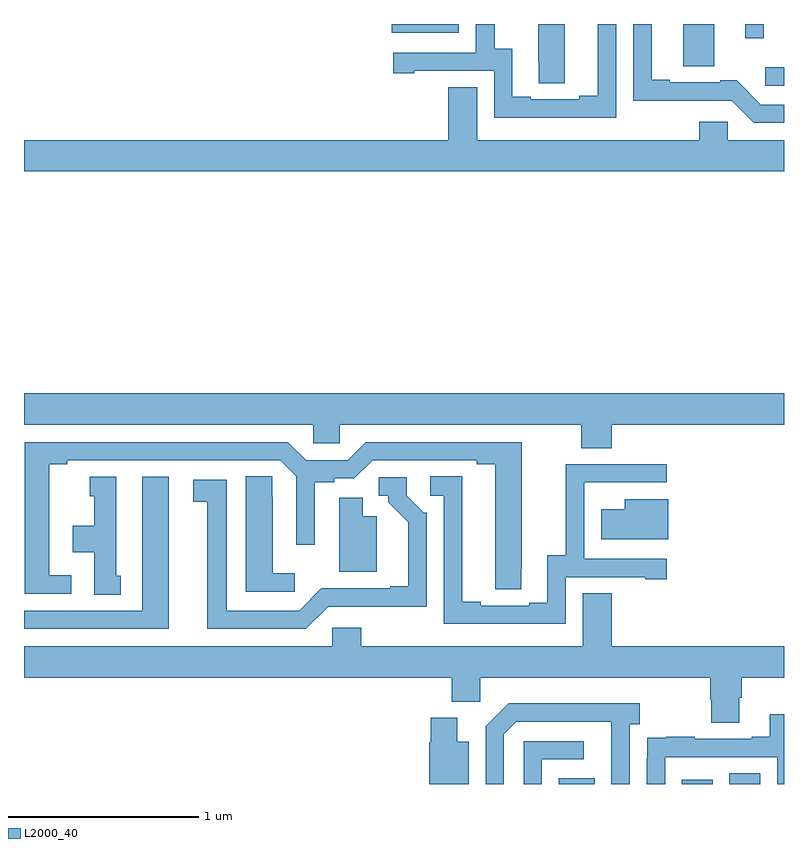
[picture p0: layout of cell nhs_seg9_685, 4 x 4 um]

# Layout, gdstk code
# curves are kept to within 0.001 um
import gdstk
lib = gdstk.Library(unit=1e-6, precision=1e-09)
def R(c, l, rs):  # rectangles x0, y0, x1, y1
    for r in rs: c.add(gdstk.rectangle(r[:2], r[2:], *l))
def P(c, l, *ps):  # polygons
    for p in ps: c.add(gdstk.Polygon(p, *l))
L2000_40 = (2000, 40)

nhs_seg9_685 = lib.new_cell('nhs_seg9_685')
R(nhs_seg9_685, L2000_40, [(147.815,1222.5,148.003,1222.531), (148.463,1222.5,148.624,1222.522), (148.712,1222.5,148.876,1222.556), (148.902,1226.175,149,1226.272), (148.796,1226.424,148.893,1226.5), (146.936,1226.453,147.289,1226.5)])
P(nhs_seg9_685, L2000_40, [(148.116,1226.5),(148.019,1226.5),(148.019,1226.123),(147.923,1226.123),(147.923,1226.103),(147.667,1226.103),(147.667,1226.118),(147.571,1226.118),(147.571,1226.369),(147.477,1226.369),(147.477,1226.5),(147.378,1226.5),(147.378,1226.349),(146.943,1226.349),(146.943,1226.241),(147.055,1226.241),(147.055,1226.253),(147.474,1226.253),(147.474,1226.007),(148.116,1226.007)],
  [(147.847,1226.5),(147.707,1226.5),(147.707,1226.296),(147.708,1226.296),(147.708,1226.188),(147.847,1226.188)],
  [(148.632,1226.436),(148.633,1226.436),(148.633,1226.5),(148.469,1226.5),(148.469,1226.278),(148.632,1226.278)],
  [(149,1226.076),(148.878,1226.076),(148.75,1226.204),(148.664,1226.204),(148.664,1226.193),(148.399,1226.193),(148.399,1226.206),(148.303,1226.206),(148.303,1226.5),(148.206,1226.5),(148.206,1226.096),(148.725,1226.097),(148.842,1225.98),(149,1225.98)],
  [(149,1225.888),(148.704,1225.888),(148.704,1225.986),(148.553,1225.986),(148.553,1225.888),(147.385,1225.888),(147.385,1226.168),(147.233,1226.168),(147.233,1225.888),(145,1225.888),(145,1225.724),(149,1225.724)],
  [(148.094,1224.392),(149,1224.392),(149,1224.556),(145,1224.556),(145,1224.392),(146.523,1224.392),(146.523,1224.294),(146.661,1224.294),(146.661,1224.392),(147.934,1224.392),(147.934,1224.268),(148.094,1224.268)],
  [(145.249,1223.598),(145.132,1223.598),(145.132,1224.184),(145.228,1224.184),(145.228,1224.204),(146.349,1224.204),(146.433,1224.12),(146.433,1223.76),(146.53,1223.76),(146.53,1224.088),(146.634,1224.088),(146.634,1224.108),(146.739,1224.108),(146.835,1224.204),(147.383,1224.204),(147.383,1224.184),(147.479,1224.184),(147.479,1223.524),(147.618,1223.524),(147.619,1224.3),(146.799,1224.3),(146.703,1224.204),(146.485,1224.204),(146.389,1224.3),(145.004,1224.3),(145.004,1223.502),(145.249,1223.502)],
  [(147.852,1223.589),(148.271,1223.589),(148.271,1223.577),(148.384,1223.577),(148.384,1223.685),(147.948,1223.685),(147.948,1224.086),(147.95,1224.086),(147.95,1224.087),(148.384,1224.087),(148.384,1224.183),(147.85,1224.183),(147.85,1223.705),(147.755,1223.705),(147.755,1223.454),(147.659,1223.454),(147.659,1223.439),(147.403,1223.439),(147.403,1223.459),(147.307,1223.459),(147.307,1224.119),(147.138,1224.119),(147.138,1224.018),(147.21,1224.018),(147.21,1223.343),(147.852,1223.343)],
  [(146.425,1223.608),(146.308,1223.608),(146.308,1224.011),(146.307,1224.011),(146.307,1224.119),(146.168,1224.119),(146.168,1223.511),(146.425,1223.511)],
  [(145.51,1223.595),(145.486,1223.595),(145.486,1224.118),(145.346,1224.118),(145.346,1224.015),(145.37,1224.015),(145.37,1223.86),(145.256,1223.86),(145.256,1223.72),(145.37,1223.72),(145.37,1223.497),(145.51,1223.497)],
  [(145.762,1224.118),(145.622,1224.118),(145.622,1223.412),(145,1223.412),(145,1223.316),(145.762,1223.316)],
  [(146.601,1223.433),(147.12,1223.432),(147.12,1223.928),(147.105,1223.928),(147.015,1224.018),(147.015,1224.114),(146.868,1224.114),(146.868,1224.018),(146.918,1224.018),(146.918,1223.983),(147.023,1223.878),(147.023,1223.542),(146.927,1223.542),(146.927,1223.529),(146.565,1223.529),(146.448,1223.412),(146.068,1223.412),(146.068,1224.102),(145.89,1224.102),(145.89,1223.986),(145.964,1223.986),(145.964,1223.316),(146.484,1223.316)],
  [(146.857,1223.908),(146.782,1223.908),(146.782,1224.007),(146.66,1224.007),(146.66,1223.618),(146.857,1223.618)],
  [(148.39,1223.998),(148.163,1223.998),(148.163,1223.947),(148.038,1223.947),(148.038,1223.789),(148.39,1223.789)],
  [(148.765,1222.954),(148.778,1222.954),(148.778,1223.06),(149,1223.06),(149,1223.224),(148.094,1223.224),(148.094,1223.504),(147.941,1223.504),(147.941,1223.224),(146.774,1223.224),(146.774,1223.322),(146.622,1223.322),(146.622,1223.224),(145,1223.224),(145,1223.06),(147.251,1223.06),(147.251,1222.934),(147.402,1222.934),(147.402,1223.06),(148.613,1223.06),(148.613,1222.947),(148.618,1222.947),(148.618,1222.822),(148.765,1222.822)],
  [(147.525,1222.761),(147.591,1222.827),(148.091,1222.827),(148.092,1222.5),(148.188,1222.5),(148.188,1222.814),(148.24,1222.814),(148.24,1222.924),(147.55,1222.924),(147.429,1222.803),(147.429,1222.5),(147.525,1222.5)],
  [(148.374,1222.641),(148.965,1222.641),(148.965,1222.5),(149,1222.5),(149,1222.867),(148.925,1222.867),(148.925,1222.75),(148.829,1222.75),(148.829,1222.737),(148.529,1222.737),(148.529,1222.75),(148.381,1222.75),(148.381,1222.743),(148.279,1222.743),(148.279,1222.634),(148.278,1222.634),(148.278,1222.5),(148.374,1222.5)],
  [(147.34,1222.723),(147.28,1222.723),(147.28,1222.849),(147.14,1222.849),(147.14,1222.719),(147.133,1222.719),(147.133,1222.5),(147.34,1222.5)],
  [(147.726,1222.629),(147.946,1222.629),(147.946,1222.725),(147.63,1222.725),(147.63,1222.5),(147.726,1222.5)])

lib.write_gds('nhs_seg9_685.gds')
